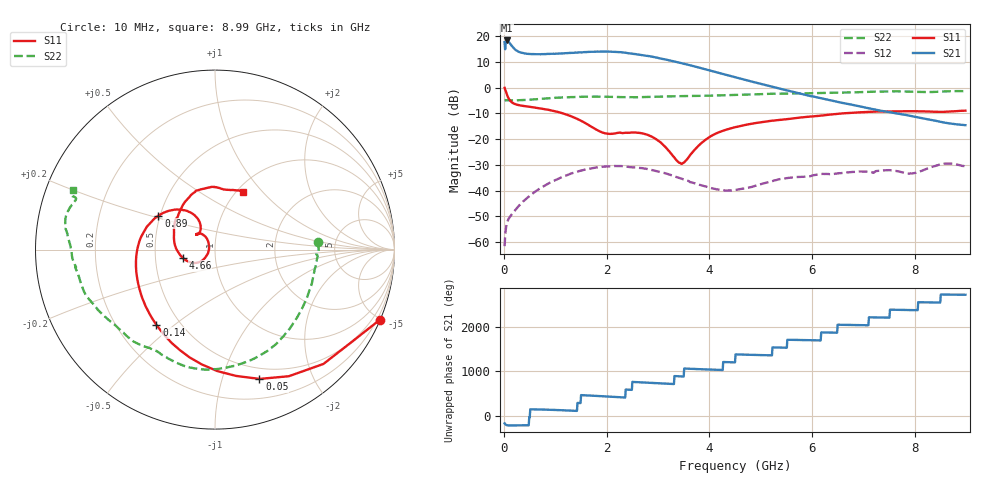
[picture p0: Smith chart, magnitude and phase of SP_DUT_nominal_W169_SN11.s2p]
!Agilent Technologies,E8358A,US41080487,A.07.50.67
!Agilent E8358A: A.07.50.67
!Date: Monday, June 09, 2014 23:17:55
!Correction: S11(Full 2 Port(1,2))
!S21(Full 2 Port(1,2))
!S12(Full 2 Port(1,2))
!S22(Full 2 Port(1,2))
!S2P File: Measurements: S11, S21, S12, S22:
# Hz S  RI  R 50
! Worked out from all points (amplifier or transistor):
!   899 points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, 10 MHz to 8.99 GHz, reference 50 ohm
!   highest |S21| = 18.4 dB at 60 MHz (marker M1)
!   |S21| within 3 dB of that: 22.11 MHz to 188 MHz (165.9 MHz wide, 158 % of centre)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
!   unconditionally stable (mu >= 1): 15.07 MHz to end of sweep
!   at 1.5 GHz: K = 2.29, MAG = 16.6 dB, |S12| = -32.2 dB
!   at 4.5 GHz: K = 14.01, MAG = 7.5 dB, |S12| = -39.8 dB
!   at 8.99 GHz: K = 20.77, MAG = -8.1 dB, |S12| = -30.6 dB
!   S11 on the Smith chart (normalised r, x): 10 MHz: 0.03, -4.90; 50 MHz: 0.39, -1.33; 140 MHz: 0.37, -0.43; 890 MHz: 0.49, +0.21; 4.66 GHz: 0.69, -0.06; 8.99 GHz: 1.07, +0.79
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1e7  0.9179 -0.3912  -7.654 -0.9971  0.000611 0.000559  0.576 0.0416
5e7  0.2475 -0.7205  -6.885 4.385  0.00155 0.0016  0.5717 -0.0388
6e7  0.1169 -0.7036  -6.772 4.825  0.00171 0.00169  0.5696 -0.0475
1.4e8  -0.3261 -0.4199  -5.195 4.237  0.00235 0.00241  0.556 -0.1073
8.9e8  -0.3154 0.1893  -3.114 3.31  0.00852 0.0114  0.334 -0.5316
1.38e9  -0.1493 0.2121  -1.7 4.511  0.0188 0.0126  0.0684 -0.657
1.45e9  -0.1305 0.2036  1.385 -4.671  -0.0204 -0.012  0.031 -0.6624
1.51e9  -0.1151 0.1928  -1.078 4.74  0.0219 0.0113  0.000461 -0.666
1.54e9  -0.1094 0.1873  -0.9649 4.832  0.0226 0.0108  -0.0133 -0.6672
2.32e9  -0.102 0.083  2.983 3.82  0.0277 -0.011  -0.2841 -0.5923
2.45e9  -0.1047 0.0832  -3.332 -3.256  -0.0249 0.0141  -0.3132 -0.573
2.54e9  -0.1035 0.0866  3.542 2.846  0.0232 -0.016  -0.3287 -0.564
3.01e9  -0.0557 0.0742  3.701 0.6998  0.0101 -0.0212  -0.4125 -0.531
3.27e9  -0.0354 0.0353  3.317 -0.2782  0.00261 -0.0195  -0.4557 -0.5105
3.36e9  -0.0332 0.0203  -3.124 0.5466  -0.000557 0.0183  -0.4713 -0.4995
3.46e9  -0.0328 0.00288  -2.9 0.788  0.00151 0.017  -0.487 -0.4854
3.55e9  -0.0367 -0.0127  2.689 -0.9667  -0.00319 -0.0156  -0.5006 -0.4729
4.5e9  -0.1594 -0.0608  -0.8222 1.373  0.0101 -0.0015  -0.6308 -0.3571
4.66e9  -0.18 -0.0453  0.6277 -1.31  -0.0101 0.00401  -0.6517 -0.3364
6e9  -0.22 0.1685  -0.1316 -0.6641  -0.000881 0.0194  -0.7792 -0.0988
7.5e9  -0.0518 0.3418  0.2242 0.2492  -0.0111 -0.0223  -0.8343 0.157
8.99e9  0.1558 0.3224  -0.1721 -0.0736  0.0244 0.0164  -0.7908 0.3296
